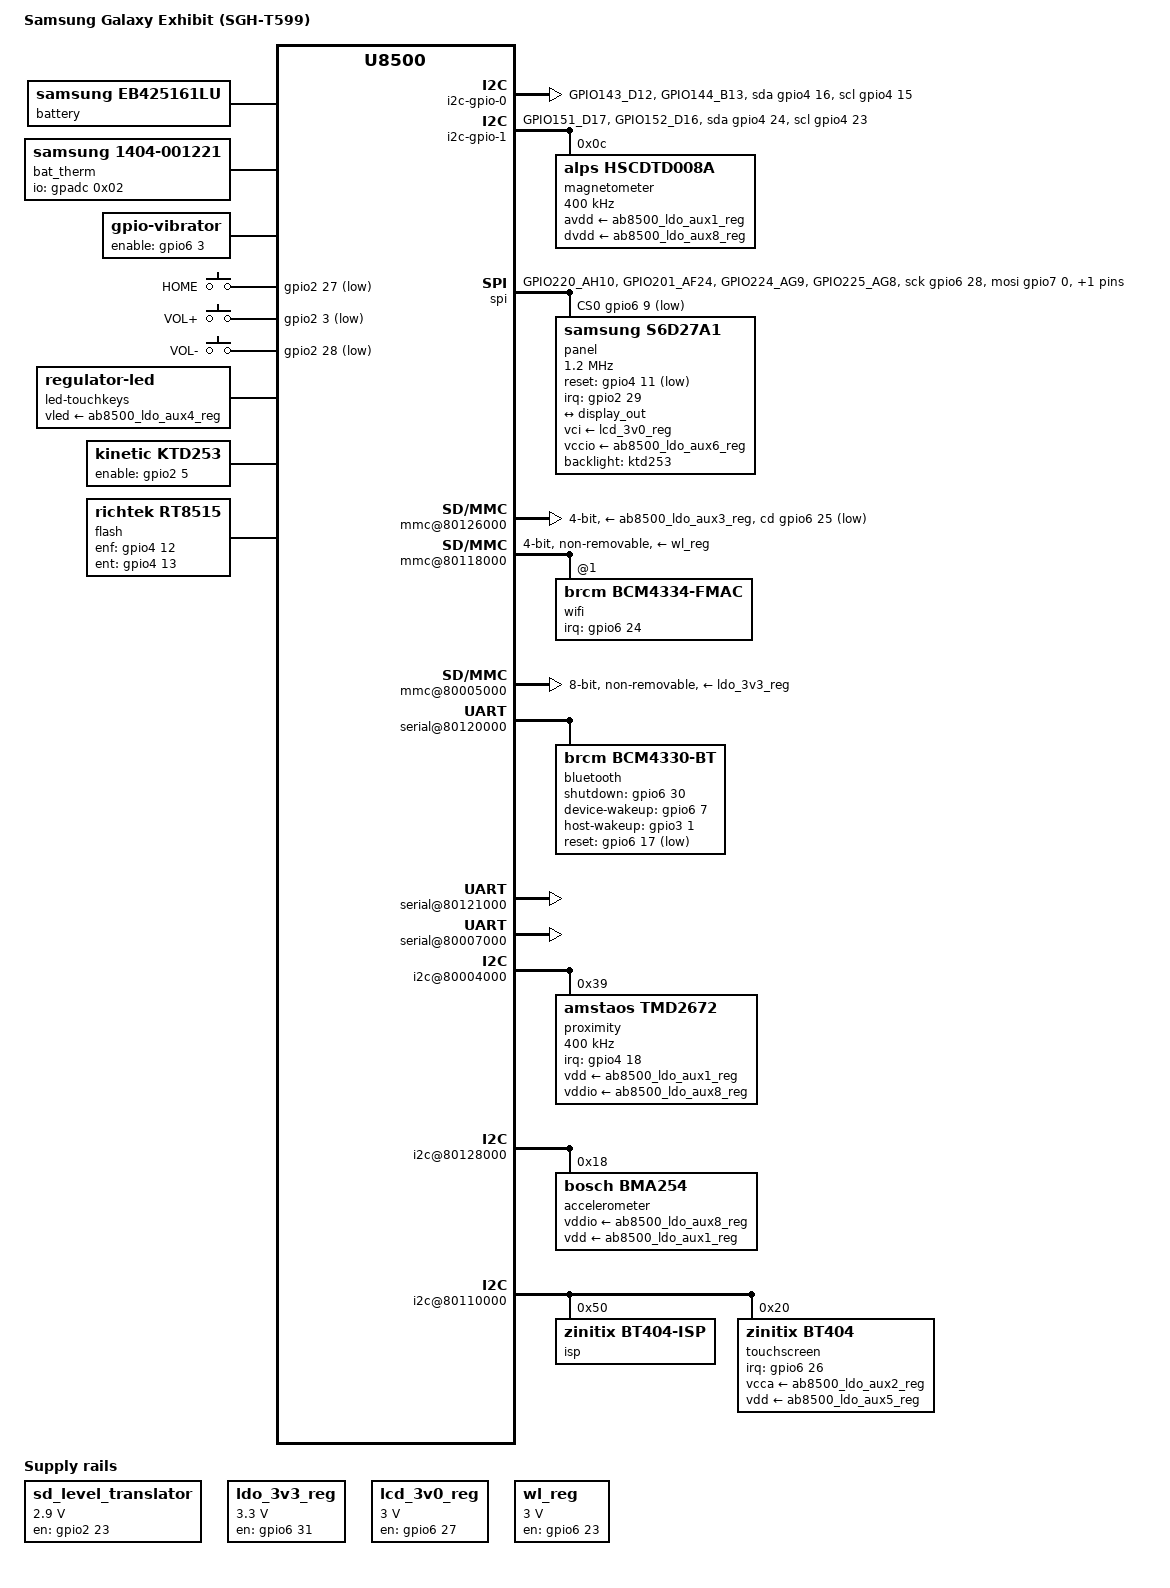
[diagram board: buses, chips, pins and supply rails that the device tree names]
// SPDX-License-Identifier: GPL-2.0-only
/*
 * Devicetree for the Samsung Galaxy Exhibit SGH-T599 also known as Codina-TMO,
 * the "TMO" shall be read "T-Mobile" as this phone was produced exlusively
 * for T-Mobile in the United States.
 *
 * This phone is closely related to the Codina, but has:
 * - No CPU speed cap, full ~1GHz rate
 * - Different power management IC, AB8505
 * - As AB8505 has a micro USB phy, no TI TSU6111
 * - Different power routing such as the removal of the external LDO for the
 *   touchscreen in favor of using the AB8505
 * - Using a regulator for the key backlight LED
 * - Using the Samsung S6D27A1 panel by default
 * - The panel is using one of the ordinary AB8505 regulators for 1.8V
 * - WiFi/Bluetooth combi chip upgraded to BCM4334
 * - GPIO for backlight control moved from 68 to 69
 */

/dts-v1/;
#include "ste-db8500.dtsi"
#include "ste-ab8505.dtsi"
#include "ste-dbx5x0-pinctrl.dtsi"
#include <dt-bindings/gpio/gpio.h>
#include <dt-bindings/leds/common.h>
#include <dt-bindings/input/input.h>
#include <dt-bindings/interrupt-controller/irq.h>

/ {
	model = "Samsung Galaxy Exhibit (SGH-T599)";
	compatible = "samsung,codina-tmo", "st-ericsson,u8500";

	chosen {
		stdout-path = &serial2;
	};

	battery: battery {
		compatible = "samsung,eb425161lu";
	};

	thermal-zones {
		battery-thermal {
			/* This zone will be polled by the battery temperature code */
			polling-delay = <0>;
			polling-delay-passive = <0>;
			thermal-sensors = <&bat_therm>;

			trips {
				battery-crit-hi {
					temperature = <70000>;
					hysteresis = <2000>;
					type = "critical";
				};
			};
		};
	};

	bat_therm: thermistor {
		compatible = "samsung,1404-001221";
		io-channels = <&gpadc 0x02>; /* BatTemp */
		pullup-uv = <1800000>;
		pullup-ohm = <230000>;
		pulldown-ohm = <0>;
		#thermal-sensor-cells = <0>;
	};

	/* TI TXS0206 level translator for 2.9 V */
	sd_level_translator: regulator-gpio {
		compatible = "regulator-fixed";

		/* GPIO87 EN */
		gpios = <&gpio2 23 GPIO_ACTIVE_HIGH>;
		enable-active-high;

		regulator-name = "sd-level-translator";
		regulator-min-microvolt = <2900000>;
		regulator-max-microvolt = <2900000>;
		regulator-type = "voltage";

		startup-delay-us = <200>;

		pinctrl-names = "default";
		pinctrl-0 = <&sd_level_translator_default>;
	};

	/* External LDO MIC5366-3.3YMT for eMMC */
	ldo_3v3_reg: regulator-gpio-ldo-3v3 {
		compatible = "regulator-fixed";
		/* Supplied in turn by VBAT */
		regulator-name = "VMEM_3V3";
		regulator-min-microvolt = <3300000>;
		regulator-max-microvolt = <3300000>;
		gpios = <&gpio6 31 GPIO_ACTIVE_HIGH>;
		startup-delay-us = <5000>;
		enable-active-high;
		pinctrl-names = "default";
		pinctrl-0 = <&emmc_ldo_en_default_mode>;
	};

	/*
	 * External Ricoh RP152L010B-TR LCD LDO regulator for the display.
	 * LCD_PWR_EN controls both the 3.0V output.
	 */
	lcd_3v0_reg: regulator-gpio-lcd-3v0 {
		compatible = "regulator-fixed";
		/* Supplied in turn by VBAT */
		regulator-name = "VREG_LCD_3.0V";
		regulator-min-microvolt = <3000000>;
		regulator-max-microvolt = <3000000>;
		/* GPIO219 controls this regulator */
		gpio = <&gpio6 27 GPIO_ACTIVE_HIGH>;
		enable-active-high;
		pinctrl-names = "default";
		pinctrl-0 = <&lcd_pwr_en_default_mode>;
	};

	/*
	 * This regulator is a GPIO line that drives the Broadcom WLAN
	 * line WL_REG_ON high and enables the internal regulators
	 * inside the chip. Unfortunatley it is erroneously named
	 * WLAN_RST_N on the schematic but it is not a reset line.
	 *
	 * The voltage specified here is only used to determine the OCR mask,
	 * the for the SDIO connector, the chip is actually connected
	 * directly to VBAT.
	 */
	wl_reg: regulator-gpio-wlan {
		compatible = "regulator-fixed";
		regulator-name = "WL_REG_ON";
		regulator-min-microvolt = <3000000>;
		regulator-max-microvolt = <3000000>;
		startup-delay-us = <100000>;
		/* GPIO215 (WLAN_RST_N to WL_REG_ON) */
		gpio = <&gpio6 23 GPIO_ACTIVE_HIGH>;
		enable-active-high;
		pinctrl-names = "default";
		pinctrl-0 = <&wlan_ldo_en_default>;
	};

	vibrator {
		compatible = "gpio-vibrator";
		/* GPIO195 "MOT_EN" */
		enable-gpios = <&gpio6 3 GPIO_ACTIVE_HIGH>;
		pinctrl-names = "default";
		pinctrl-0 = <&vibrator_default>;
	};

	gpio-keys {
		compatible = "gpio-keys";
		pinctrl-names = "default";
		pinctrl-0 = <&gpio_keys_default_mode>;

		button-home {
			linux,code = <KEY_HOME>;
			label = "HOME";
			/* GPIO91 */
			gpios = <&gpio2 27 GPIO_ACTIVE_LOW>;
		};
		button-volup {
			linux,code = <KEY_VOLUMEUP>;
			label = "VOL+";
			/* GPIO67 */
			gpios = <&gpio2 3 GPIO_ACTIVE_LOW>;
		};
		button-voldown {
			linux,code = <KEY_VOLUMEDOWN>;
			label = "VOL-";
			/* GPIO92 */
			gpios = <&gpio2 28 GPIO_ACTIVE_LOW>;
		};
	};

	led-touchkeys {
		compatible = "regulator-led";
		vled-supply = <&ab8500_ldo_aux4_reg>; // 3.3V
		default-state = "on";
		function = LED_FUNCTION_KBD_BACKLIGHT;
		color = <LED_COLOR_ID_WHITE>;
	};

	ktd253: backlight {
		compatible = "kinetic,ktd253";
		/* GPIO69 is used on Codina R0.4 and Codina TMO */
		enable-gpios = <&gpio2 5 GPIO_ACTIVE_HIGH>;
		/* Default to 13/32 brightness */
		default-brightness = <13>;
		pinctrl-names = "default";
		pinctrl-0 = <&ktd253_backlight_default_mode>;
	};

	/* Richtek RT8515GQW Flash LED Driver IC */
	flash {
		compatible = "richtek,rt8515";
		/* GPIO 140 */
		enf-gpios = <&gpio4 12 GPIO_ACTIVE_HIGH>;
		/* GPIO 141 */
		ent-gpios = <&gpio4 13 GPIO_ACTIVE_HIGH>;
		/*
		 * RFS is 16 kOhm and RTS is 100 kOhm giving
		 * the flash max current 343mA and torch max
		 * current 55 mA.
		 */
		richtek,rfs-ohms = <16000>;
		richtek,rts-ohms = <100000>;
		pinctrl-names = "default";
		pinctrl-0 = <&gpio_flash_default_mode>;

		led {
			function = LED_FUNCTION_FLASH;
			color = <LED_COLOR_ID_WHITE>;
			flash-max-timeout-us = <250000>;
			flash-max-microamp = <343750>;
			led-max-microamp = <55000>;
		};
	};

	/* Bit-banged I2C on GPIO143 and GPIO144 also called "SUBPMU I2C" */
	i2c-gpio-0 {
		compatible = "i2c-gpio";
		sda-gpios = <&gpio4 16 (GPIO_ACTIVE_HIGH|GPIO_OPEN_DRAIN)>;
		scl-gpios = <&gpio4 15 (GPIO_ACTIVE_HIGH|GPIO_OPEN_DRAIN)>;
		pinctrl-names = "default";
		pinctrl-0 = <&i2c_gpio_0_default>;
		#address-cells = <1>;
		#size-cells = <0>;

		/* TODO: this should also be used by the SM5103 Camera power management unit */
	};

	/* Bit-banged I2C on GPIO151 and GPIO152 also called "COMP I2C" */
	i2c-gpio-1 {
		compatible = "i2c-gpio";
		sda-gpios = <&gpio4 24 (GPIO_ACTIVE_HIGH|GPIO_OPEN_DRAIN)>;
		scl-gpios = <&gpio4 23 (GPIO_ACTIVE_HIGH|GPIO_OPEN_DRAIN)>;
		pinctrl-names = "default";
		pinctrl-0 = <&i2c_gpio_1_default>;
		#address-cells = <1>;
		#size-cells = <0>;

		magnetometer@c {
			compatible = "alps,hscdtd008a";
			reg = <0x0c>;
			clock-frequency = <400000>;

			avdd-supply = <&ab8500_ldo_aux1_reg>; // 3V
			dvdd-supply = <&ab8500_ldo_aux8_reg>; // 1.8V
		};
	};

	spi {
		compatible = "spi-gpio";
		/* Clock on GPIO220, pin SCL */
		sck-gpios = <&gpio6 28 GPIO_ACTIVE_HIGH>;
		/* MOSI on GPIO224, pin SDI "slave data in" */
		mosi-gpios = <&gpio7 0 GPIO_ACTIVE_HIGH>;
		/* MISO on GPIO225, pin SDO "slave data out" */
		miso-gpios = <&gpio7 1 GPIO_ACTIVE_HIGH>;
		/* Chip select on GPIO201 */
		cs-gpios = <&gpio6 9 GPIO_ACTIVE_LOW>;
		num-chipselects = <1>;

		pinctrl-names = "default";
		pinctrl-0 = <&spi_gpio_0_default>;
		#address-cells = <1>;
		#size-cells = <0>;

		panel@0 {
			compatible = "samsung,s6d27a1";
			spi-max-frequency = <1200000>;
			/* TYPE 3: inverse clock polarity and phase */
			spi-cpha;
			spi-cpol;

			reg = <0>;
			vci-supply = <&lcd_3v0_reg>;
			vccio-supply = <&ab8500_ldo_aux6_reg>;

			/* Reset on GPIO139 */
			reset-gpios = <&gpio4 11 GPIO_ACTIVE_LOW>;
			/* LCD_VGH/LCD_DETECT, ESD IRQ on GPIO93 */
			interrupt-parent = <&gpio2>;
			interrupts = <29 IRQ_TYPE_EDGE_RISING>;

			pinctrl-names = "default";
			pinctrl-0 = <&panel_default_mode>;
			backlight = <&ktd253>;

			port {
				panel_in: endpoint {
					remote-endpoint = <&display_out>;
				};
			};
		};
	};

	soc {
		/* External Micro SD slot */
		mmc@80126000 {
			arm,primecell-periphid = <0x10480180>;
			max-frequency = <100000000>;
			bus-width = <4>;
			cap-sd-highspeed;
			cap-mmc-highspeed;
			st,sig-pin-fbclk;
			full-pwr-cycle;
			/* MMC is powered by AUX3 1.2V .. 2.91V */
			vmmc-supply = <&ab8500_ldo_aux3_reg>;
			/* 2.9 V level translator is using AUX3 at 2.9 V as well */
			vqmmc-supply = <&sd_level_translator>;
			pinctrl-names = "default", "sleep";
			pinctrl-0 = <&mc0_a_2_default>;
			pinctrl-1 = <&mc0_a_2_sleep>;
			cd-gpios = <&gpio6 25 GPIO_ACTIVE_LOW>; // GPIO217
			status = "okay";
		};

		/* WLAN SDIO channel */
		mmc@80118000 {
			arm,primecell-periphid = <0x10480180>;
			max-frequency = <50000000>;
			bus-width = <4>;
			non-removable;
			cap-sd-highspeed;
			pinctrl-names = "default", "sleep";
			pinctrl-0 = <&mc1_a_2_default>;
			pinctrl-1 = <&mc1_a_2_sleep>;
			/*
			 * GPIO-controlled voltage enablement: this drives
			 * the WL_REG_ON line high when we use this device.
			 * Represented as regulator to fill OCR mask.
			 */
			vmmc-supply = <&wl_reg>;

			#address-cells = <1>;
			#size-cells = <0>;
			status = "okay";

			wifi@1 {
				compatible = "brcm,bcm4334-fmac", "brcm,bcm4329-fmac";
				reg = <1>;
				/* GPIO216 WL_HOST_WAKE */
				interrupt-parent = <&gpio6>;
				interrupts = <24 IRQ_TYPE_EDGE_FALLING>;
				interrupt-names = "host-wake";
				pinctrl-names = "default";
				pinctrl-0 = <&wlan_default_mode>;
			};
		};

		/* eMMC */
		mmc@80005000 {
			arm,primecell-periphid = <0x10480180>;
			max-frequency = <100000000>;
			bus-width = <8>;
			non-removable;
			cap-mmc-highspeed;
			mmc-ddr-1_8v;
			no-sdio;
			no-sd;
			vmmc-supply = <&ldo_3v3_reg>;
			pinctrl-names = "default", "sleep";
			/*
			 * GPIO130 will be set to input no pull-up resulting in a resistor
			 * pulling the reset high and taking the memory out of reset.
			 */
			pinctrl-0 = <&mc2_a_1_default>;
			pinctrl-1 = <&mc2_a_1_sleep>;
			status = "okay";
		};

		/* GBF (Bluetooth) UART */
		serial@80120000 {
			pinctrl-names = "default", "sleep";
			pinctrl-0 = <&u0_a_1_default>;
			pinctrl-1 = <&u0_a_1_sleep>;
			status = "okay";

			bluetooth {
				/* BCM4334B0 actually */
				compatible = "brcm,bcm4330-bt";
				/* GPIO222 rail BT_VREG_EN to BT_REG_ON */
				shutdown-gpios = <&gpio6 30 GPIO_ACTIVE_HIGH>;
				/* BT_WAKE on GPIO199 */
				device-wakeup-gpios = <&gpio6 7 GPIO_ACTIVE_HIGH>;
				/* BT_HOST_WAKE on GPIO97 */
				/* FIXME: convert to interrupt */
				host-wakeup-gpios = <&gpio3 1 GPIO_ACTIVE_HIGH>;
				/* BT_RST_N on GPIO209 */
				reset-gpios = <&gpio6 17 GPIO_ACTIVE_LOW>;
				pinctrl-names = "default";
				pinctrl-0 = <&bluetooth_default_mode>;
			};
		};

		/* GPS UART */
		serial@80121000 {
			status = "okay";
			pinctrl-names = "default", "sleep";
			/* CTS/RTS is not used, CTS is repurposed as GPIO */
			pinctrl-0 = <&u1rxtx_a_1_default>;
			pinctrl-1 = <&u1rxtx_a_1_sleep>;
			/* FIXME: add a device for the GPS here */
		};

		/* Debugging console UART connected to AB8505 */
		serial@80007000 {
			status = "okay";
			pinctrl-names = "default", "sleep";
			pinctrl-0 = <&u2rxtx_c_1_default>;
			pinctrl-1 = <&u2rxtx_c_1_sleep>;
		};

		prcmu@80157000 {
			ab8505 {
				phy {
					pinctrl-names = "default", "sleep";
					pinctrl-0 = <&usb_a_1_default>;
					pinctrl-1 = <&usb_a_1_sleep>;
				};

				ab8500_fg {
					line-impedance-micro-ohms = <36000>;
				};

				/* This is mostly identical to the Codina v0.4 regulators */
				regulator {
					ab8500_ldo_aux1 {
						regulator-name = "v-sensors-vdd";
						regulator-min-microvolt = <3000000>;
						regulator-max-microvolt = <3300000>;
					};

					ab8500_ldo_aux2 {
						regulator-name = "v-aux2";
						regulator-min-microvolt = <3300000>;
						regulator-max-microvolt = <3300000>;
					};

					ab8500_ldo_aux3 {
						regulator-name = "v-mmc-sd";
					};

					ab8500_ldo_aux4 {
						regulator-name = "v-aux4";
						/*
						 * Providing some span here makes the touchkey
						 * LEDs actually dimmable.
						 */
						regulator-min-microvolt = <1100000>;
						regulator-max-microvolt = <3300000>;
					};

					ab8500_ldo_aux5 {
						regulator-name = "v-aux5";
						regulator-min-microvolt = <1800000>;
						regulator-max-microvolt = <1800000>;
					};

					ab8500_ldo_aux6 {
						/* 1.8 V to the display */
						regulator-name = "v-aux6";
						regulator-min-microvolt = <1800000>;
						regulator-max-microvolt = <1800000>;
					};

					ab8500_ldo_aux8 {
						regulator-name = "v-sensors-vio";
					};
				};
			};
		};

		/* I2C0 also known as "AGC I2C" */
		i2c@80004000 {
			status = "okay";
			pinctrl-names = "default", "sleep";
			pinctrl-0 = <&i2c0_a_1_default>;
			pinctrl-1 = <&i2c0_a_1_sleep>;

			proximity@39 {
				/* Codina has the Amstaos TMD2672 */
				compatible = "amstaos,tmd2672";
				clock-frequency = <400000>;
				reg = <0x39>;

				/* IRQ on GPIO146 "PS_INT" */
				interrupt-parent = <&gpio4>;
				interrupts = <18 IRQ_TYPE_EDGE_FALLING>;
				vdd-supply = <&ab8500_ldo_aux1_reg>;
				vddio-supply = <&ab8500_ldo_aux8_reg>;
				pinctrl-names = "default";
				pinctrl-0 = <&tmd2672_codina_default>;
			};
		};

		/* I2C2 on GPIO10 and GPIO11 also called "SENSORS I2C" */
		i2c@80128000 {
			status = "okay";
			pinctrl-names = "default", "sleep";
			pinctrl-0 = <&i2c2_b_2_default>;
			pinctrl-1 = <&i2c2_b_2_sleep>;

			/* Bosch BMA254 accelerometer */
			accelerometer@18 {
				compatible = "bosch,bma254";
				reg = <0x18>;
				mount-matrix = "0", "1", "0",
					       "-1", "0", "0",
					       "0", "0", "1";
				vddio-supply = <&ab8500_ldo_aux8_reg>; // 1.8V
				vdd-supply = <&ab8500_ldo_aux1_reg>; // 3V
			};
		};

		/* I2C3 */
		i2c@80110000 {
			status = "okay";

			pinctrl-names = "default", "sleep";
			pinctrl-0 = <&i2c3_c_2_default>;
			pinctrl-1 = <&i2c3_c_2_sleep>;

			/* TODO: write bindings and driver for this touchscreen */

			/* Zinitix BT404 ISP part */
			isp@50 {
				compatible = "zinitix,bt404-isp";
				reg = <0x50>;
				pinctrl-names = "default";
				pinctrl-0 = <&tsp_default>;
			};

			/* Zinitix BT404 touchscreen, also has the touchkeys for menu and back */
			touchscreen@20 {
				compatible = "zinitix,bt404";
				reg = <0x20>;
				/* GPIO218 (TSP_INT_1V8) */
				interrupt-parent = <&gpio6>;
				interrupts = <26 IRQ_TYPE_EDGE_FALLING>;
				vcca-supply = <&ab8500_ldo_aux2_reg>; // 3.3V
				vdd-supply = <&ab8500_ldo_aux5_reg>; // 1.8V
				zinitix,mode = <2>;
				touchscreen-size-x = <480>;
				touchscreen-size-y = <800>;
				pinctrl-names = "default";
				pinctrl-0 = <&tsp_default>;
			};
		};

		mcde@a0350000 {
			status = "okay";
			pinctrl-names = "default";
			pinctrl-0 = <&dpi_default_mode>;

			port {
				display_out: endpoint {
					remote-endpoint = <&panel_in>;
				};
			};
		};
	};
};

&pinctrl {
	/*
	 * This extends the MC0_A_2 default config to include
	 * the card detect GPIO217 line.
	 */
	sdi0 {
		mc0_a_2_default {
			default_cfg4 {
				pins = "GPIO217_AH12"; /* card detect */
				ste,config = <&gpio_in_pd>;
			};
		};
	};
	sdi2 {
		/*
		 * GPIO130 should be set in GPIO mode and
		 * pulled down. (Not connected.)
		 */
		mc2_a_1_default {
			default_cfg2 {
				pins = "GPIO130_C8"; /* FBCLK */
				ste,config = <&gpio_in_pd>;
			};
		};
	};
	/* GPIO that enables the 2.9V SD card level translator */
	sd-level-translator {
		sd_level_translator_default: sd_level_translator_default {
			/* level shifter on GPIO87 */
			codina_cfg1 {
				pins = "GPIO87_B3";
				ste,config = <&gpio_out_hi>;
			};
		};
	};
	/* GPIO that enables the LDO regulator for the eMMC */
	emmc-ldo {
		emmc_ldo_en_default_mode: emmc_ldo_default {
			/* LDO enable on GPIO223 */
			codina_cfg1 {
				pins = "GPIO223_AH9";
				ste,config = <&gpio_out_hi>;
			};
		};
	};
	/* GPIOs for panel control */
	panel {
		panel_default_mode: panel_default {
			codina_cfg1 {
				/* Reset line */
				pins = "GPIO139_C9";
				ste,config = <&gpio_out_lo>;
			};
			codina_cfg2 {
				/* ESD IRQ line "LCD detect" */
				pins = "GPIO93_B7";
				ste,config = <&gpio_in_nopull>;
			};
		};
	};
	/* GPIO that enables the LDO regulator for the LCD display */
	lcd-ldo {
		lcd_pwr_en_default_mode: lcd_pwr_en_default {
			/* LCD_PWR_EN on GPIO219 */
			codina_cfg1 {
				pins = "GPIO219_AG10";
				ste,config = <&gpio_out_hi>;
			};
		};
	};
	/* GPIO that enables the WLAN internal LDO regulators */
	wlan-ldo {
		wlan_ldo_en_default: wlan_ldo_default {
			/* GPIO215 named WLAN_RST_N */
			codina_cfg1 {
				pins = "GPIO215_AH13";
				ste,config = <&gpio_out_lo>;
			};
		};
	};
	/* Backlight GPIO */
	backlight {
		ktd253_backlight_default_mode: backlight_default {
			skomer_cfg1 {
				pins = "GPIO69_E2"; /* LCD_BL_CTRL */
				ste,config = <&gpio_out_lo>;
			};
		};
	};
	/* Flash and torch */
	flash {
		gpio_flash_default_mode: flash_default {
			codina_cfg1 {
				pins = "GPIO140_B11", "GPIO141_C12";
				ste,config = <&gpio_out_lo>;
			};
		};
	};
	/* GPIO keys */
	gpio-keys {
		gpio_keys_default_mode: gpio_keys_default {
			skomer_cfg1 {
				pins = "GPIO67_G2", /* VOL UP */
				       "GPIO91_B6", /* HOME */
				       "GPIO92_D6"; /* VOL DOWN */
				ste,config = <&gpio_in_pu>;
			};
		};
	};
	/* Interrupt line for the Zinitix BT404 touchscreen */
	tsp {
		tsp_default: tsp_default {
			codina_cfg1 {
				pins = "GPIO218_AH11";	/* TSP_INT_1V8 */
				ste,config = <&gpio_in_nopull>;
			};
		};
	};
	/* Interrupt line for light/proximity sensor TMD2672 */
	tmd2672 {
		tmd2672_codina_default: tmd2672_codina {
			codina_cfg1 {
				pins = "GPIO146_D13";
				ste,config = <&gpio_in_nopull>;
			};
		};
	};
	/* GPIO-based I2C bus for subpmu */
	i2c-gpio-0 {
		i2c_gpio_0_default: i2c_gpio_0 {
			codina_cfg1 {
				pins = "GPIO143_D12", "GPIO144_B13";
				ste,config = <&gpio_in_nopull>;
			};
		};
	};
	/* GPIO-based I2C bus for the NFC */
	i2c-gpio-1 {
		i2c_gpio_1_default: i2c_gpio_1 {
			codina_cfg1 {
				pins = "GPIO151_D17", "GPIO152_D16";
				ste,config = <&gpio_in_nopull>;
			};
		};
	};
	/* GPIO-based SPI bus for the display */
	spi-gpio-0 {
		spi_gpio_0_default: spi_gpio_0_d {
			codina_cfg1 {
				pins = "GPIO220_AH10", "GPIO201_AF24", "GPIO224_AG9";
				ste,config = <&gpio_out_hi>;
			};
			codina_cfg2 {
				pins = "GPIO225_AG8";
				/* Needs pull down, no pull down resistor on board */
				ste,config = <&gpio_in_pd>;
			};
		};
		spi_gpio_0_sleep: spi_gpio_0_s {
			codina_cfg1 {
				pins = "GPIO220_AH10", "GPIO201_AF24",
				       "GPIO224_AG9", "GPIO225_AG8";
				ste,config = <&gpio_out_hi>;
			};
		};
	};
	wlan {
		wlan_default_mode: wlan_default {
			/* GPIO216 for WL_HOST_WAKE */
			codina_cfg2 {
				pins = "GPIO216_AG12";
				ste,config = <&gpio_in_pd>;
			};
		};
	};
	bluetooth {
		bluetooth_default_mode: bluetooth_default {
			/* GPIO199 BT_WAKE and GPIO222 BT_VREG_ON */
			codina_cfg1 {
				pins = "GPIO199_AH23", "GPIO222_AJ9";
				ste,config = <&gpio_out_lo>;
			};
			/* GPIO97 BT_HOST_WAKE */
			codina_cfg2 {
				pins = "GPIO97_D9";
				ste,config = <&gpio_in_nopull>;
			};
			/* GPIO209 BT_RST_N */
			codina_cfg3 {
				pins = "GPIO209_AG15";
				ste,config = <&gpio_out_hi>;
			};
		};
	};
	vibrator {
		vibrator_default: vibrator_default {
			codina_cfg1 {
				pins = "GPIO195_AG28";	/* MOT_EN */
				ste,config = <&gpio_out_lo>;
			};
		};
	};
	mcde {
		dpi_default_mode: dpi_default {
			default_mux1 {
				/* Mux in all the data lines */
				function = "lcd";
				groups =
					/* Data lines D0-D7 GPIO70..GPIO77 */
					"lcd_d0_d7_a_1",
					/* Data lines D8-D11 GPIO78..GPIO81 */
					"lcd_d8_d11_a_1",
					/* Data lines D12-D15 GPIO82..GPIO85 */
					"lcd_d12_d15_a_1",
					/* Data lines D16-D23 GPIO161..GPIO168 */
					"lcd_d16_d23_b_1";
			};
			default_mux2 {
				function = "lcda";
				/* Clock line on GPIO150, DE, VSO, HSO on GPIO169..GPIO171 */
				groups = "lcdaclk_b_1", "lcda_b_1";
			};
			/* Input, no pull-up is the default state for pins used for an alt function */
			default_cfg1 {
				pins = "GPIO150_C14", "GPIO169_D22", "GPIO170_C23", "GPIO171_D23";
				ste,config = <&in_nopull>;
			};
		};
	};
};
